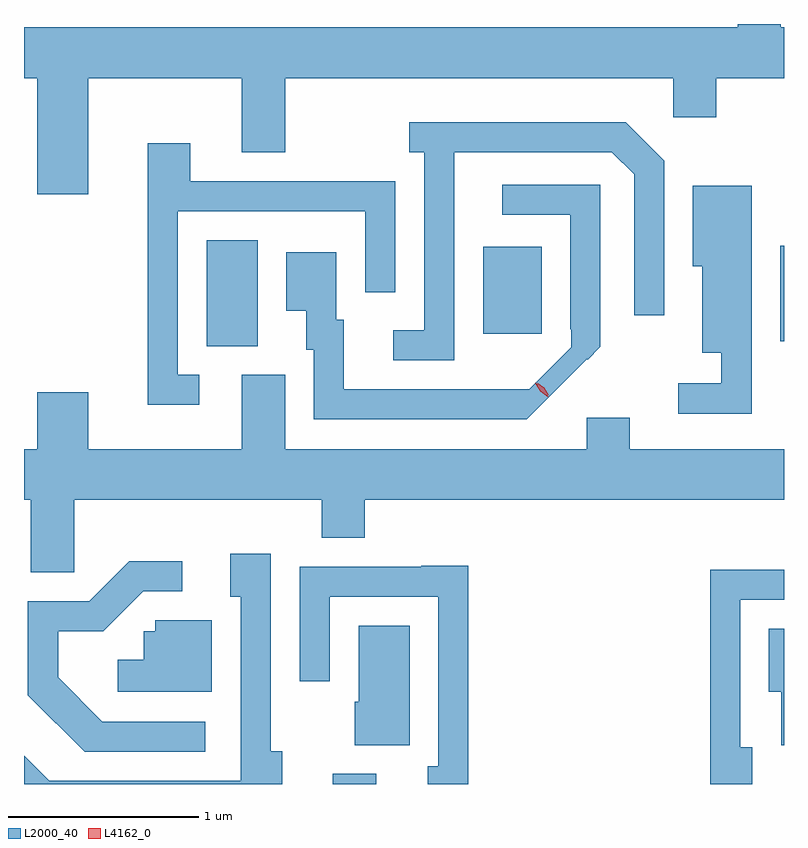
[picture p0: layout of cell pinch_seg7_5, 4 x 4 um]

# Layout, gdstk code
import gdstk
lib = gdstk.Library(unit=1e-6, precision=1e-09)
def R(c, l, rs):  # rectangles x0, y0, x1, y1
    for r in rs: c.add(gdstk.rectangle(r[:2], r[2:], *l))
def P(c, l, *ps):  # polygons
    for p in ps: c.add(gdstk.Polygon(p, *l))
L2000_40 = (2000, 40)
L4162_0 = (4162, 0)

pinch_seg7_5 = lib.new_cell('pinch_seg7_5')
R(pinch_seg7_5, L2000_40, [(1615.231,1777.201,1615.459,1777.254), (1614.566,1779.506,1614.834,1780.064), (1617.586,1779.531,1617.605,1780.034), (1616.021,1779.571,1616.329,1780.029)])
P(pinch_seg7_5, L2000_40, [(1613.944,1780.916),(1614.751,1780.916),(1614.751,1780.526),(1614.979,1780.526),(1614.979,1780.916),(1617.021,1780.916),(1617.021,1780.711),(1617.249,1780.711),(1617.249,1780.916),(1617.605,1780.916),(1617.605,1781.184),(1617.589,1781.184),(1617.589,1781.201),(1617.361,1781.201),(1617.361,1781.184),(1613.605,1781.184),(1613.605,1780.916),(1613.676,1780.916),(1613.676,1780.306),(1613.944,1780.306)],
  [(1615.869,1780.526),(1616.699,1780.526),(1616.816,1780.409),(1616.816,1779.668),(1616.974,1779.668),(1616.974,1780.482),(1616.772,1780.684),(1615.633,1780.684),(1615.633,1780.526),(1615.711,1780.526),(1615.711,1779.589),(1615.548,1779.589),(1615.548,1779.431),(1615.869,1779.431)],
  [(1614.528,1779.354),(1614.414,1779.354),(1614.414,1780.216),(1615.401,1780.216),(1615.401,1779.788),(1615.559,1779.788),(1615.559,1780.374),(1614.479,1780.374),(1614.479,1780.574),(1614.256,1780.574),(1614.256,1779.196),(1614.528,1779.196)],
  [(1616.567,1779.437),(1616.571,1779.433),(1616.639,1779.502),(1616.639,1780.354),(1616.123,1780.354),(1616.123,1780.196),(1616.481,1780.196),(1616.481,1779.595),(1616.485,1779.595),(1616.485,1779.501),(1616.263,1779.279),(1615.289,1779.279),(1615.289,1779.644),(1615.249,1779.644),(1615.249,1779.999),(1614.986,1779.999),(1614.986,1779.691),(1615.091,1779.691),(1615.091,1779.486),(1615.131,1779.486),(1615.131,1779.121),(1616.252,1779.121)],
  [(1617.434,1780.349),(1617.126,1780.349),(1617.126,1779.926),(1617.176,1779.926),(1617.176,1779.471),(1617.276,1779.471),(1617.276,1779.309),(1617.048,1779.309),(1617.048,1779.151),(1617.434,1779.151)],
  [(1613.869,1778.696),(1615.171,1778.696),(1615.171,1778.496),(1615.399,1778.496),(1615.399,1778.696),(1617.605,1778.696),(1617.605,1778.964),(1616.794,1778.964),(1616.794,1779.129),(1616.566,1779.129),(1616.566,1778.964),(1614.979,1778.964),(1614.979,1779.354),(1614.751,1779.354),(1614.751,1778.964),(1613.944,1778.964),(1613.944,1779.264),(1613.676,1779.264),(1613.676,1778.964),(1613.605,1778.964),(1613.605,1778.696),(1613.641,1778.696),(1613.641,1778.316),(1613.869,1778.316)],
  [(1614.964,1777.374),(1614.904,1777.374),(1614.904,1778.414),(1614.691,1778.414),(1614.691,1778.186),(1614.746,1778.186),(1614.746,1777.219),(1613.737,1777.219),(1613.605,1777.351),(1613.605,1777.201),(1614.964,1777.201)],
  [(1614.558,1777.529),(1614.017,1777.529),(1613.784,1777.762),(1613.784,1778.006),(1614.022,1778.006),(1614.232,1778.216),(1614.438,1778.216),(1614.438,1778.374),(1614.159,1778.374),(1613.949,1778.164),(1613.626,1778.164),(1613.626,1777.669),(1613.924,1777.371),(1614.558,1777.371)],
  [(1615.944,1778.349),(1615.695,1778.349),(1615.695,1778.344),(1615.056,1778.344),(1615.056,1777.743),(1615.214,1777.743),(1615.214,1778.186),(1615.786,1778.186),(1615.786,1777.294),(1615.731,1777.294),(1615.731,1777.201),(1615.944,1777.201)],
  [(1617.439,1777.394),(1617.374,1777.394),(1617.374,1778.171),(1617.605,1778.171),(1617.605,1778.329),(1617.216,1778.329),(1617.216,1777.201),(1617.439,1777.201)],
  [(1614.594,1778.064),(1614.296,1778.064),(1614.296,1778.004),(1614.236,1778.004),(1614.236,1777.854),(1614.098,1777.854),(1614.098,1777.686),(1614.594,1777.686)],
  [(1615.634,1778.034),(1615.366,1778.034),(1615.366,1777.634),(1615.346,1777.634),(1615.346,1777.406),(1615.634,1777.406)],
  [(1617.605,1778.019),(1617.526,1778.019),(1617.526,1777.686),(1617.591,1777.686),(1617.591,1777.406),(1617.605,1777.406)])
P(pinch_seg7_5, L4162_0, [(1616.364,1779.237),(1616.323,1779.268),(1616.296,1779.311),(1616.296,1779.312),(1616.297,1779.312),(1616.338,1779.281),(1616.365,1779.238),(1616.365,1779.237)],
  [(1616.366,1779.246),(1616.328,1779.272),(1616.305,1779.312),(1616.305,1779.313),(1616.306,1779.313),(1616.343,1779.286),(1616.366,1779.246),(1616.366,1779.246)])

lib.write_gds('pinch_seg7_5.gds')
